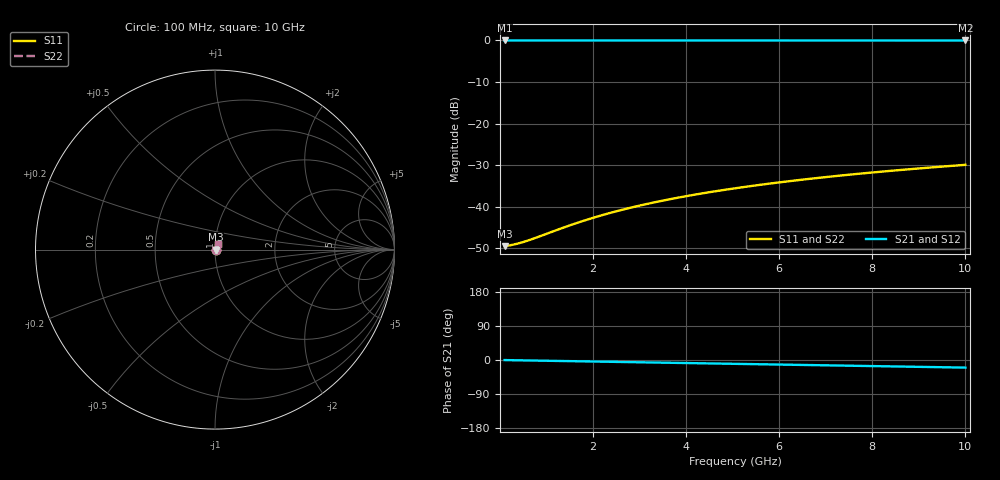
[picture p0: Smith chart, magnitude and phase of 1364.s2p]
# Hz S RI R 50.00
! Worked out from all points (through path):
!   100 points, 100 MHz to 10 GHz, reference 50 ohm
!   highest |S21| = -0.03 dB at 100 MHz (marker M1); lowest = 0.0 dB at 10 GHz (marker M2)
!   group delay of S21, straight-line fit = 5.57 ps
!   lowest |S11| = -49.5 dB at 100 MHz (marker M3), VSWR 1.01, Z = 50.3 + j0.0316 ohm
!   |S11| at or under -10 dB: start of sweep to end of sweep
!   |S22| runs from -49.5 to -29.9 dB; largest |S21 - S12| = 0
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1e8  0.00335 0.000314  0.9966 -0.00349  0.9966 -0.00349  0.00335 0.000314
2e8  0.00338 0.000627  0.9966 -0.00697  0.9966 -0.00697  0.00338 0.000627
3e8  0.0034 0.00094  0.9965 -0.0105  0.9965 -0.0105  0.0034 0.00094
4e8  0.00342 0.00125  0.9965 -0.0139  0.9965 -0.0139  0.00342 0.00125
6e8  0.00346 0.00188  0.9963 -0.0209  0.9963 -0.0209  0.00346 0.00188
8e8  0.0035 0.0025  0.9961 -0.0279  0.9961 -0.0279  0.0035 0.0025
1.4e9  0.00368 0.00438  0.9953 -0.0488  0.9953 -0.0488  0.00368 0.00438
1.8e9  0.00384 0.00562  0.9945 -0.0627  0.9945 -0.0627  0.00384 0.00562
2.2e9  0.00403 0.00685  0.9935 -0.0766  0.9935 -0.0766  0.00403 0.00685
2.6e9  0.00425 0.00809  0.9923 -0.0905  0.9923 -0.0905  0.00425 0.00809
3e9  0.00451 0.00931  0.9909 -0.1044  0.9909 -0.1044  0.00451 0.00931
3.4e9  0.0048 0.0105  0.9893 -0.1182  0.9893 -0.1182  0.0048 0.0105
3.8e9  0.00513 0.0117  0.9875 -0.1321  0.9875 -0.1321  0.00513 0.0117
4.2e9  0.00549 0.0129  0.9855 -0.1459  0.9855 -0.1459  0.00549 0.0129
4.6e9  0.00588 0.0141  0.9833 -0.1597  0.9833 -0.1597  0.00588 0.0141
5.1e9  0.00641 0.0156  0.9803 -0.1768  0.9803 -0.1768  0.00641 0.0156
5.9e9  0.00738 0.0179  0.9749 -0.2042  0.9749 -0.2042  0.00738 0.0179
6.7e9  0.00847 0.0201  0.9687 -0.2315  0.9687 -0.2315  0.00847 0.0201
7.5e9  0.00969 0.0223  0.9617 -0.2585  0.9617 -0.2585  0.00969 0.0223
8.4e9  0.0112 0.0246  0.953 -0.2887  0.953 -0.2887  0.0112 0.0246
9.2e9  0.0127 0.0267  0.9444 -0.3153  0.9444 -0.3153  0.0127 0.0267
1e10  0.0143 0.0286  0.9351 -0.3416  0.9351 -0.3416  0.0143 0.0286
